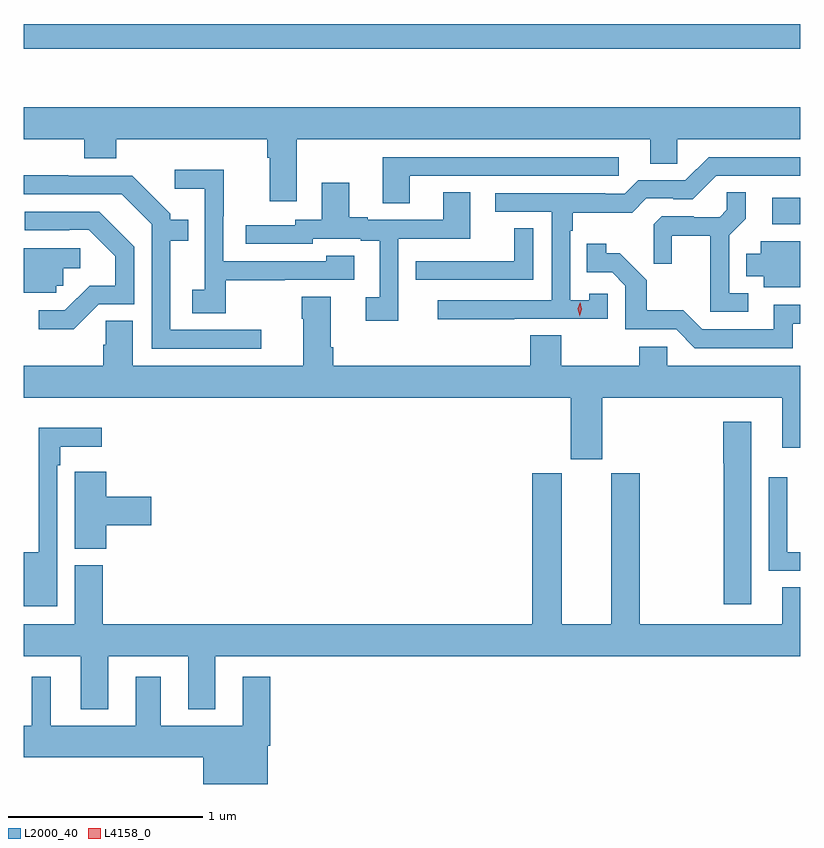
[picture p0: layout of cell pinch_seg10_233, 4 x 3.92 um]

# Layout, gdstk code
import gdstk
lib = gdstk.Library(unit=1e-6, precision=1e-09)
def R(c, l, rs):  # rectangles x0, y0, x1, y1
    for r in rs: c.add(gdstk.rectangle(r[:2], r[2:], *l))
def P(c, l, *ps):  # polygons
    for p in ps: c.add(gdstk.Polygon(p, *l))
L2000_40 = (2000, 40)
L4158_0 = (4158, 0)

pinch_seg10_233 = lib.new_cell('pinch_seg10_233')
R(pinch_seg10_233, L2000_40, [(614.709,1313.199,614.853,1313.335), (610.853,1314.102,614.853,1314.23)])
P(pinch_seg10_233, L2000_40, [(612.259,1313.636),(614.081,1313.636),(614.081,1313.509),(614.22,1313.509),(614.22,1313.636),(614.853,1313.636),(614.853,1313.8),(610.853,1313.8),(610.853,1313.636),(611.165,1313.636),(611.165,1313.537),(611.33,1313.537),(611.33,1313.636),(612.107,1313.636),(612.107,1313.54),(612.119,1313.54),(612.119,1313.316),(612.259,1313.316)],
  [(613.379,1312.71),(613.863,1312.71),(613.863,1312.839),(613.767,1312.839),(613.767,1312.807),(613.668,1312.807),(613.668,1313.165),(613.681,1313.165),(613.681,1313.258),(613.988,1313.258),(614.061,1313.331),(614.2,1313.331),(614.2,1313.328),(614.301,1313.328),(614.421,1313.448),(614.853,1313.448),(614.853,1313.544),(614.382,1313.544),(614.262,1313.424),(614.019,1313.424),(613.95,1313.355),(613.85,1313.355),(613.85,1313.358),(613.281,1313.358),(613.281,1313.262),(613.572,1313.262),(613.572,1312.806),(612.987,1312.806),(612.987,1312.708),(613.379,1312.708)],
  [(612.841,1313.448),(613.918,1313.448),(613.918,1313.544),(612.701,1313.544),(612.701,1313.305),(612.841,1313.305)],
  [(611.893,1312.909),(612.197,1312.909),(612.197,1312.911),(612.556,1312.911),(612.556,1313.035),(612.411,1313.035),(612.411,1313.007),(611.88,1313.007),(611.88,1313.24),(611.883,1313.24),(611.883,1313.479),(611.631,1313.479),(611.631,1313.381),(611.784,1313.381),(611.784,1312.86),(611.721,1312.86),(611.721,1312.738),(611.893,1312.738)],
  [(612.076,1312.653),(611.608,1312.653),(611.608,1313.112),(611.699,1313.112),(611.699,1313.221),(611.607,1313.221),(611.607,1313.253),(611.412,1313.448),(611.081,1313.448),(611.081,1313.45),(610.853,1313.45),(610.853,1313.352),(611.358,1313.352),(611.511,1313.199),(611.511,1312.557),(612.076,1312.557)],
  [(612.783,1313.124),(613.153,1313.124),(613.153,1313.363),(613.013,1313.363),(613.013,1313.22),(612.625,1313.22),(612.625,1313.233),(612.529,1313.233),(612.529,1313.413),(612.389,1313.413),(612.389,1313.22),(612.252,1313.22),(612.252,1313.193),(611.997,1313.193),(611.997,1313.097),(612.342,1313.097),(612.342,1313.124),(612.59,1313.124),(612.59,1313.112),(612.686,1313.112),(612.686,1312.821),(612.615,1312.821),(612.615,1312.701),(612.783,1312.701)],
  [(614.587,1312.842),(614.487,1312.842),(614.487,1313.141),(614.573,1313.227),(614.573,1313.363),(614.475,1313.363),(614.475,1313.272),(614.438,1313.235),(614.304,1313.235),(614.304,1313.238),(614.139,1313.238),(614.098,1313.197),(614.098,1312.995),(614.192,1312.995),(614.192,1313.138),(614.39,1313.138),(614.39,1312.746),(614.587,1312.746)],
  [(611.238,1312.785),(611.421,1312.785),(611.421,1313.083),(611.242,1313.262),(610.857,1313.262),(610.857,1313.166),(611.087,1313.166),(611.087,1313.169),(611.187,1313.169),(611.324,1313.032),(611.324,1312.882),(611.191,1312.882),(611.064,1312.755),(610.929,1312.755),(610.929,1312.658),(611.11,1312.658)],
  [(613.479,1313.177),(613.381,1313.177),(613.381,1313.007),(612.985,1313.007),(612.985,1313.006),(612.873,1313.006),(612.873,1312.911),(613.479,1312.911)],
  [(614.853,1313.11),(614.651,1313.11),(614.651,1313.047),(614.576,1313.047),(614.576,1312.931),(614.666,1312.931),(614.666,1312.874),(614.853,1312.874)],
  [(614.816,1312.686),(614.853,1312.686),(614.853,1312.782),(614.717,1312.782),(614.717,1312.656),(614.349,1312.656),(614.251,1312.755),(614.062,1312.755),(614.062,1312.91),(613.924,1313.048),(613.854,1313.048),(613.854,1313.098),(613.753,1313.098),(613.753,1312.95),(613.884,1312.95),(613.953,1312.881),(613.953,1312.656),(614.214,1312.656),(614.31,1312.56),(614.816,1312.56)],
  [(611.019,1312.881),(611.055,1312.881),(611.055,1312.97),(611.143,1312.97),(611.143,1313.073),(610.853,1313.073),(610.853,1312.845),(611.019,1312.845)],
  [(613.834,1312.304),(614.762,1312.304),(614.762,1312.047),(614.853,1312.047),(614.853,1312.468),(614.169,1312.468),(614.169,1312.566),(614.023,1312.566),(614.023,1312.468),(613.623,1312.468),(613.623,1312.625),(613.463,1312.625),(613.463,1312.468),(612.446,1312.468),(612.446,1312.564),(612.433,1312.564),(612.433,1312.825),(612.286,1312.825),(612.286,1312.712),(612.293,1312.712),(612.293,1312.468),(611.413,1312.468),(611.413,1312.7),(611.275,1312.7),(611.275,1312.578),(611.261,1312.578),(611.261,1312.468),(610.853,1312.468),(610.853,1312.304),(613.67,1312.304),(613.67,1311.987),(613.834,1311.987)],
  [(614.602,1312.18),(614.456,1312.18),(614.456,1311.967),(614.461,1311.967),(614.461,1311.24),(614.602,1311.24)],
  [(611.025,1311.956),(611.041,1311.956),(611.041,1312.052),(611.254,1312.052),(611.254,1312.15),(610.929,1312.15),(610.929,1311.507),(610.853,1311.507),(610.853,1311.23),(611.025,1311.23)],
  [(611.276,1311.647),(611.509,1311.647),(611.509,1311.794),(611.276,1311.794),(611.276,1311.922),(611.115,1311.922),(611.115,1311.809),(611.114,1311.809),(611.114,1311.526),(611.276,1311.526)],
  [(611.287,1310.972),(611.699,1310.972),(611.699,1310.699),(611.839,1310.699),(611.839,1310.972),(614.853,1310.972),(614.853,1311.326),(614.762,1311.326),(614.762,1311.136),(614.028,1311.136),(614.028,1311.915),(613.88,1311.915),(613.88,1311.136),(613.624,1311.136),(613.624,1311.915),(613.472,1311.915),(613.472,1311.136),(611.258,1311.136),(611.258,1311.441),(611.114,1311.441),(611.114,1311.136),(610.853,1311.136),(610.853,1310.972),(611.147,1310.972),(611.147,1310.699),(611.287,1310.699)],
  [(614.853,1311.507),(614.787,1311.507),(614.787,1311.895),(614.691,1311.895),(614.691,1311.411),(614.853,1311.411)],
  [(612.109,1310.51),(612.122,1310.51),(612.122,1310.866),(611.981,1310.866),(611.981,1310.614),(611.557,1310.614),(611.557,1310.866),(611.429,1310.866),(611.429,1310.614),(610.99,1310.614),(610.99,1310.866),(610.892,1310.866),(610.892,1310.614),(610.853,1310.614),(610.853,1310.45),(611.777,1310.45),(611.777,1310.313),(612.109,1310.313)])
P(pinch_seg10_233, L4158_0, [(613.717,1312.725),(613.717,1312.726),(613.708,1312.762),(613.719,1312.797),(613.72,1312.797),(613.72,1312.797),(613.728,1312.761),(613.717,1312.726)])

lib.write_gds('pinch_seg10_233.gds')
